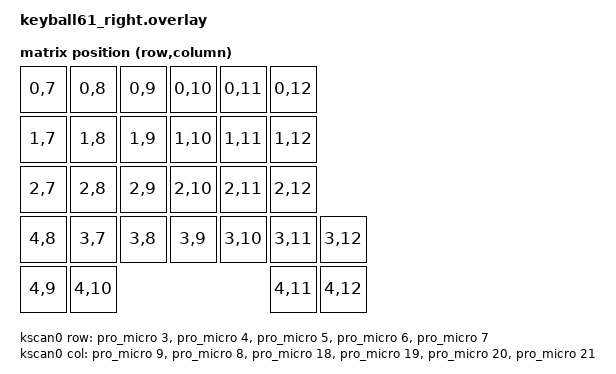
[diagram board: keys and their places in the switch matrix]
/*
 * Copyright (c) 2020 ZMK Contributors
 *
 * SPDX-License-Identifier: MIT
 */

// スプリット用の共通ファイルを読み込まず、このファイル単体で右手専用に定義します
#include <dt-bindings/zmk/matrix_transform.h>

/ {
    chosen {
        zmk,kscan = &kscan0;
        zmk,matrix-transform = &default_transform;
    };

    // 右手単体の物理キー配列（29キー）を正確に処理するための変換マップ定義
    default_transform: keymap_transform_0 {
        compatible = "zmk,matrix-transform";
        columns = <13>;
        rows = <5>;

        map = <
            RC(0,7) RC(0,8) RC(0,9) RC(0,10) RC(0,11) RC(0,12)
            RC(1,7) RC(1,8) RC(1,9) RC(1,10) RC(1,11) RC(1,12)
            RC(2,7) RC(2,8) RC(2,9) RC(2,10) RC(2,11) RC(2,12)
            RC(4,8) RC(3,7) RC(3,8) RC(3,9) RC(3,10) RC(3,11) RC(3,12)
            RC(4,9) RC(4,10)                         RC(4,11) RC(4,12)
        >;
    };

    kscan0: kscan {
        compatible = "zmk,kscan-gpio-matrix";
        label = "KSCAN";
        wakeup-source;
        diode-direction = "col2row";

        row-gpios
            = <&pro_micro 3 (GPIO_ACTIVE_HIGH | GPIO_PULL_DOWN)>
            , <&pro_micro 4 (GPIO_ACTIVE_HIGH | GPIO_PULL_DOWN)>
            , <&pro_micro 5 (GPIO_ACTIVE_HIGH | GPIO_PULL_DOWN)>
            , <&pro_micro 6 (GPIO_ACTIVE_HIGH | GPIO_PULL_DOWN)>
            , <&pro_micro 7 (GPIO_ACTIVE_HIGH | GPIO_PULL_DOWN)>
            ;
        
        col-gpios
            = <&pro_micro 9  GPIO_ACTIVE_HIGH>
            , <&pro_micro 8  GPIO_ACTIVE_HIGH>
            , <&pro_micro 18 GPIO_ACTIVE_HIGH>
            , <&pro_micro 19 GPIO_ACTIVE_HIGH>
            , <&pro_micro 20 GPIO_ACTIVE_HIGH>
            , <&pro_micro 21 GPIO_ACTIVE_HIGH>
            ;
    };
};

&pinctrl {
    spi1_default: spi1_default {
        group1 {
            psels = <NRF_PSEL(SPIM_SCK, 1, 13)>,
                <NRF_PSEL(SPIM_MOSI, 0, 10)>,
                <NRF_PSEL(SPIM_MISO, 0, 10)>;
        };
    };

    spi1_sleep: spi1_sleep {
        group1 {
            psels = <NRF_PSEL(SPIM_SCK, 1, 13)>,
                <NRF_PSEL(SPIM_MOSI, 0, 10)>,
                <NRF_PSEL(SPIM_MISO, 0, 10)>;
            low-power-enable;
        };
    };
};

&spi1 {
    status = "okay";
    compatible = "nordic,nrf-spim";
    pinctrl-0 = <&spi1_default>;
    pinctrl-1 = <&spi1_sleep>;
    pinctrl-names = "default", "sleep";
    cs-gpios = <&gpio0 9 GPIO_ACTIVE_LOW>;

    trackball: trackball@0 {
        status = "okay";
        compatible = "cormoran,pmw3610"; // DYA最新のドライバ名に適合
        reg = <0>;
        spi-max-frequency = <2000000>;
        irq-gpios = <&gpio1 11 (GPIO_ACTIVE_LOW | GPIO_PULL_UP)>;
    };
};

&pinctrl {
    i2c0_default: i2c0_default {
        group1 {
            psels = <NRF_PSEL(TWIM_SDA, 0, 17)>,
                    <NRF_PSEL(TWIM_SCL, 0, 8)>;
        };
    };

    i2c0_sleep: i2c0_sleep {
        group1 {
            psels = <NRF_PSEL(TWIM_SDA, 0, 17)>,
                    <NRF_PSEL(TWIM_SCL, 0, 8)>;
            low-power-enable;
        };
    };
};

&i2c0 {
    status = "okay";
    compatible = "nordic,nrf-twi";
    pinctrl-0 = <&i2c0_default>;
    pinctrl-1 = <&i2c0_sleep>;
    pinctrl-names = "default", "sleep";

    oled: ssd1306@3c {
        compatible = "solomon,ssd1306fb";
        reg = <0x3c>;
        width = <128>;
        height = <32>;
        segment-offset = <0>;
        page-offset = <0>;
        display-offset = <0>;
        multiplex-ratio = <31>;
        segment-remap;
        com-invdir;
        com-sequential;
        inversion-on;
        prechargep = <0x22>;
    };
};
